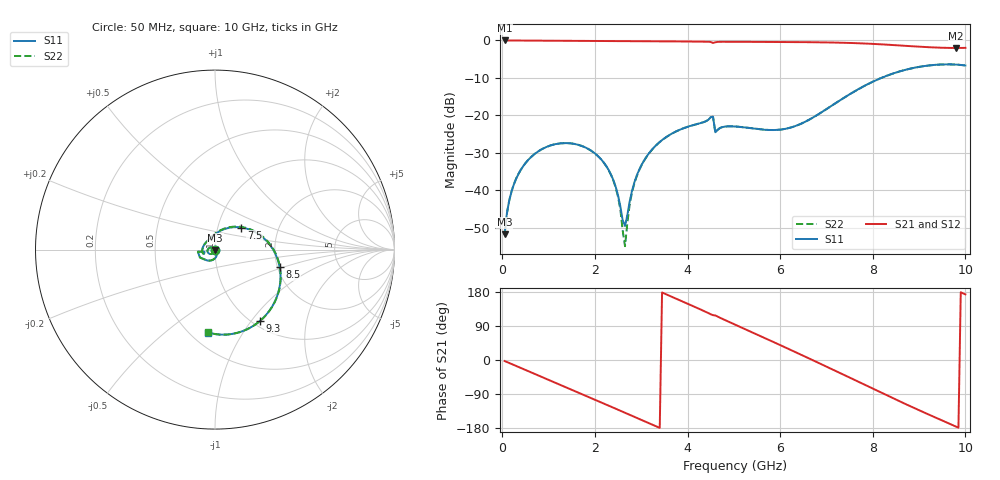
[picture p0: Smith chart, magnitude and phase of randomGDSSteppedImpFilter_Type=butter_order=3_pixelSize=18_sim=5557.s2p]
! freq	dB(S11)	phase(S11)	dB(S12)	phase(S12)
!  dB(S21)	phase(S21)	dB(S22)	phase(S22)
!S-par simulation data
#  GHz  S  DB  R 50
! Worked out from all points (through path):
!   200 points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, 50 MHz to 10 GHz, reference 50 ohm
!   highest |S21| = 0.00 dB at 50 MHz (marker M1); lowest = -2.0 dB at 9.8 GHz (marker M2)
!   group delay of S21, straight-line fit = 153 ps
!   lowest |S11| = -51.6 dB at 50 MHz (marker M3), VSWR 1.01, Z = 50 - j0.261 ohm
!   |S11| at or under -10 dB: start of sweep to 8.183 GHz
!   |S22| runs from -54.9 to -6.4 dB; largest |S21 - S12| = 0
!   S11 on the Smith chart (normalised r, x): 50 MHz: 1.00, -0.01; 7.5 GHz: 1.30, +0.33; 8.5 GHz: 2.05, -0.47; 9.3 GHz: 1.08, -1.10; 10 GHz: 0.61, -0.71
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0.05  -51.64 -84.4  -0.00 -2.7  -0.00 -2.7  -51.64 -84.3
0.2  -40.23 -98.6  -0.02 -10.6  -0.02 -10.6  -40.23 -98.5
0.55  -31.99 -119.5  -0.04 -28.9  -0.04 -28.9  -31.99 -119.3
1.2  -27.53 -155.2  -0.08 -62.9  -0.08 -62.9  -27.53 -154.5
1.75  -28.30 174.5  -0.11 -91.7  -0.11 -91.7  -28.31 175.9
2.35  -35.84 135.7  -0.14 -123.3  -0.14 -123.3  -35.93 140.9
2.5  -41.34 117.2  -0.15 -131.2  -0.15 -131.2  -41.74 127.6
2.65  -49.49 33.4  -0.16 -139.2  -0.16 -139.2  -54.85 30.9
2.75  -42.98 -27.2  -0.17 -144.5  -0.17 -144.5  -43.83 -40.8
2.9  -36.14 -50.4  -0.18 -152.5  -0.18 -152.5  -36.32 -56.9
3.4  -27.07 -84.9  -0.23 -179.2  -0.23 -179.2  -27.09 -87.3
4.1  -22.65 -124.4  -0.30 143.2  -0.30 143.2  -22.65 -125.6
4.55  -20.35 -172.6  -0.68 118.3  -0.68 118.3  -20.33 -173.2
5.05  -22.96 -177.8  -0.36 92.1  -0.36 92.1  -22.95 -177.8
5.8  -23.89 137.5  -0.40 50.6  -0.40 50.6  -23.88 138.9
6.7  -20.61 84.0  -0.47 -0.2  -0.47 -0.2  -20.63 86.3
7.5  -14.36 40.0  -0.67 -46.5  -0.67 -46.5  -14.36 41.5
8.35  -9.19 -7.0  -1.16 -95.9  -1.16 -95.9  -9.19 -6.3
8.5  -8.56 -15.3  -1.27 -104.5  -1.27 -104.5  -8.56 -14.6
9.3  -6.56 -58.1  -1.86 -148.9  -1.86 -148.9  -6.56 -57.8
9.8  -6.44 -84.3  -2.01 -175.9  -2.01 -175.9  -6.44 -84.2
10  -6.68 -94.8  -1.98 173.2  -1.98 173.2  -6.68 -94.9
